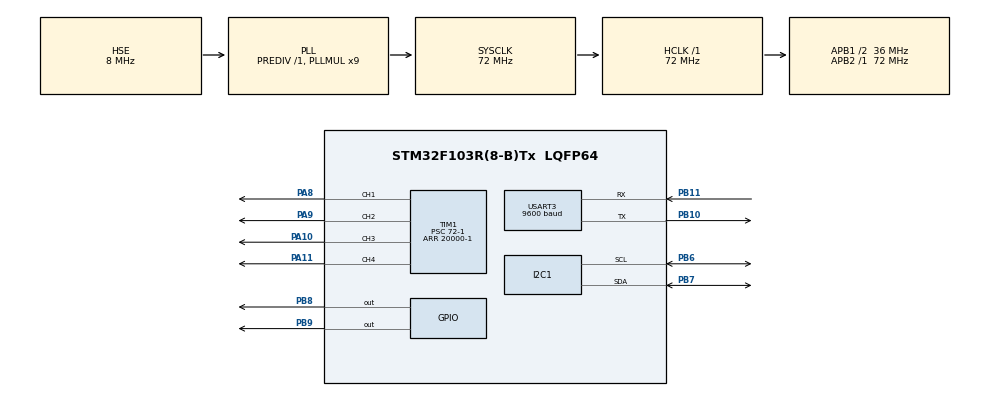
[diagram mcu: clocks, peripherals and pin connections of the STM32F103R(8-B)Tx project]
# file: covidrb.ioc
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Dma.Request0=USART3_RX
Dma.Request1=USART3_TX
Dma.USART3_RX.0.Direction=DMA_PERIPH_TO_MEMORY
Dma.USART3_RX.0.Instance=DMA1_Channel3
Dma.USART3_RX.0.MemDataAlignment=DMA_MDATAALIGN_BYTE
Dma.USART3_RX.0.MemInc=DMA_MINC_ENABLE
Dma.USART3_RX.0.Mode=DMA_CIRCULAR
Dma.USART3_RX.0.PeriphDataAlignment=DMA_PDATAALIGN_BYTE
Dma.USART3_RX.0.PeriphInc=DMA_PINC_DISABLE
Dma.USART3_RX.0.Priority=DMA_PRIORITY_HIGH
Dma.USART3_TX.1.Direction=DMA_MEMORY_TO_PERIPH
Dma.USART3_TX.1.Instance=DMA1_Channel2
Dma.USART3_TX.1.MemDataAlignment=DMA_MDATAALIGN_BYTE
Dma.USART3_TX.1.MemInc=DMA_MINC_ENABLE
Dma.USART3_TX.1.Mode=DMA_NORMAL
Dma.USART3_TX.1.PeriphDataAlignment=DMA_PDATAALIGN_BYTE
Dma.USART3_TX.1.PeriphInc=DMA_PINC_DISABLE
Dma.USART3_TX.1.Priority=DMA_PRIORITY_HIGH
Mcu.Family=STM32F1
Mcu.Name=STM32F103R(8-B)Tx
Mcu.Package=LQFP64
NVIC.DMA1_Channel2_IRQn=true\:5\:0\:true\:false\:true\:false\:true
NVIC.DMA1_Channel3_IRQn=true\:5\:0\:true\:false\:true\:false\:true
NVIC.PriorityGroup=NVIC_PRIORITYGROUP_4
NVIC.TIM4_IRQn=true\:0\:0\:false\:false\:true\:false\:true
NVIC.TimeBase=TIM4_IRQn
NVIC.TimeBaseIP=TIM4
NVIC.USART3_IRQn=true\:5\:0\:true\:false\:true\:true\:true
PA10.Signal=S_TIM1_CH3
PA11.Signal=S_TIM1_CH4
PA8.Signal=S_TIM1_CH1
PA9.Signal=S_TIM1_CH2
PB10.Mode=Asynchronous
PB10.Signal=USART3_TX
PB11.Mode=Asynchronous
PB11.Signal=USART3_RX
PB6.Mode=I2C
PB6.Signal=I2C1_SCL
PB7.Mode=I2C
PB7.Signal=I2C1_SDA
PB8.Signal=GPIO_Output
PB9.Signal=GPIO_Output
PD0-OSC_IN.Mode=HSE-External-Oscillator
PD0-OSC_IN.Signal=RCC_OSC_IN
PD1-OSC_OUT.Mode=HSE-External-Oscillator
PD1-OSC_OUT.Signal=RCC_OSC_OUT
ProjectManager.HeapSize=0x200
ProjectManager.StackSize=0x400
ProjectManager.TargetToolchain=STM32CubeIDE
RCC.AHBFreq_Value=72000000
RCC.APB1CLKDivider=RCC_HCLK_DIV2
RCC.APB1Freq_Value=36000000
RCC.APB1TimFreq_Value=72000000
RCC.APB2Freq_Value=72000000
RCC.APB2TimFreq_Value=72000000
RCC.HCLKFreq_Value=72000000
RCC.PLLMUL=RCC_PLL_MUL9
RCC.PLLSourceVirtual=RCC_PLLSOURCE_HSE
RCC.SYSCLKFreq_VALUE=72000000
RCC.SYSCLKSource=RCC_SYSCLKSOURCE_PLLCLK
RCC.USBFreq_Value=72000000
SH.S_TIM1_CH1.0=TIM1_CH1,PWM Generation1 CH1
SH.S_TIM1_CH2.0=TIM1_CH2,PWM Generation2 CH2
SH.S_TIM1_CH3.0=TIM1_CH3,PWM Generation3 CH3
SH.S_TIM1_CH4.0=TIM1_CH4,PWM Generation4 CH4
TIM1.Channel-PWM\ Generation1\ CH1=TIM_CHANNEL_1
TIM1.Channel-PWM\ Generation2\ CH2=TIM_CHANNEL_2
TIM1.Channel-PWM\ Generation3\ CH3=TIM_CHANNEL_3
TIM1.Channel-PWM\ Generation4\ CH4=TIM_CHANNEL_4
TIM1.Period=20000-1
TIM1.Prescaler=72-1
TIM1.Pulse-PWM\ Generation1\ CH1=1500
TIM1.Pulse-PWM\ Generation2\ CH2=1500
TIM1.Pulse-PWM\ Generation3\ CH3=1500
TIM1.Pulse-PWM\ Generation4\ CH4=1500
USART3.BaudRate=9600
USART3.VirtualMode=VM_ASYNC
VP_SYS_VS_ND.Mode=No_Debug
VP_SYS_VS_tim4.Mode=TIM4
VP_TIM1_VS_ClockSourceINT.Mode=Internal
board=custom

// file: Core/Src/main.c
/* USER CODE BEGIN Header */
/**
 ******************************************************************************
 * @file           : main.c
 * @brief          : Main program body
 ******************************************************************************
 * @attention
 *
 * <h2><center>&copy; Copyright (c) 2020 STMicroelectronics.
 * All rights reserved.</center></h2>
 *
 * This software component is licensed by ST under BSD 3-Clause license,
 * the "License"; You may not use this file except in compliance with the
 * License. You may obtain a copy of the License at:
 *                        opensource.org/licenses/BSD-3-Clause
 *
 ******************************************************************************
 */
/* USER CODE END Header */

#include "main.h"
#include "dma.h"
#include "i2c.h"
#include "tim.h"
#include "usart.h"
#include "gpio.h"

/* USER CODE BEGIN Includes */
#include "stdio.h"
#include "math.h"
#include "stdlib.h"
#include "IMU/imu.h"
#include "constDefines.h"
#include "comms.h"
/* USER CODE END Includes */

void SystemClock_Config(void);

/* USER CODE BEGIN 0 */
uint8_t receivedData[30] = "012345678901234567890123456789";
uint8_t dataTypeToReturn = 255;
int motorsInit = 0;
int x = 0;
int initComplete = 0;
int enableDebug = 1;

void initUART(void) {
	while (HAL_UART_Receive_DMA(&huart3, receivedData, 30) != HAL_OK) {
		blinkLED(2, 25);
	}

}

void escSet(uint32_t channel, uint16_t value) {
	__HAL_TIM_SET_COMPARE(&htim1, channel, value);
}
void initMotors(void) {
	HAL_TIM_PWM_Start(&htim1, TIM_CHANNEL_1);
	HAL_TIM_PWM_Start(&htim1, TIM_CHANNEL_2);
	HAL_TIM_PWM_Start(&htim1, TIM_CHANNEL_3);
	HAL_TIM_PWM_Start(&htim1, TIM_CHANNEL_4);
	escSet(TIM_CHANNEL_1, 1000);
	escSet(TIM_CHANNEL_2, 1000);
	escSet(TIM_CHANNEL_3, 1000);
	escSet(TIM_CHANNEL_4, 1000);
//	uint8_t debugData[] = MOTORS_INIT;
//	HAL_UART_Transmit_DMA(&huart3, debugData, sizeof(debugData));
//	uartTransmit(MOTORS_INIT);
	HAL_Delay(1000);
}

void initIMU() {
//	uint8_t debugData[] = IMU_INIT;
//	HAL_UART_Transmit_DMA(&huart3, debugData, sizeof(debugData));
	uartTransmit(IMU_INIT);
	MPU6050_initialize();
	DMP_Init();
	uartTransmit(MOTORS_INIT);

}

void shutMotors(void) {
	HAL_TIM_PWM_Stop(&htim1, TIM_CHANNEL_1);
	HAL_TIM_PWM_Stop(&htim1, TIM_CHANNEL_2);
	HAL_TIM_PWM_Stop(&htim1, TIM_CHANNEL_3);
	HAL_TIM_PWM_Stop(&htim1, TIM_CHANNEL_4);
}
void setMotorsAcro(void) {

	for (int i = 0; i < 20; i++) {
		escSet(TIM_CHANNEL_1, 500 + 100 * i);
		escSet(TIM_CHANNEL_2, 500 + 100 * i);
		escSet(TIM_CHANNEL_3, 500 + 100 * i);
		escSet(TIM_CHANNEL_4, 500 + 100 * i);
		HAL_Delay(1500);
//		setTrim();
	}
}
void calibrateESC(void) {
	HAL_GPIO_TogglePin(GPIOB, GPIO_PIN_8);
	HAL_TIM_PWM_Start(&htim1, TIM_CHANNEL_1);
	HAL_TIM_PWM_Start(&htim1, TIM_CHANNEL_2);
	HAL_TIM_PWM_Start(&htim1, TIM_CHANNEL_3);
	HAL_TIM_PWM_Start(&htim1, TIM_CHANNEL_4);
	escSet(TIM_CHANNEL_1, 2000);
	escSet(TIM_CHANNEL_2, 2000);
	escSet(TIM_CHANNEL_3, 2000);
	escSet(TIM_CHANNEL_4, 2000);
	HAL_Delay(5000);
	HAL_GPIO_TogglePin(GPIOB, GPIO_PIN_8);
	escSet(TIM_CHANNEL_1, 1000);
	escSet(TIM_CHANNEL_2, 1000);
	escSet(TIM_CHANNEL_3, 1000);
	escSet(TIM_CHANNEL_4, 1000);
	HAL_Delay(5000);
	HAL_GPIO_TogglePin(GPIOB, GPIO_PIN_8);
	shutMotors();
}
void HAL_UART_RxCpltCallback(UART_HandleTypeDef *huart) {
n = n + 1;
	if (receivedData[1] == ARM[0]) {
		HAL_GPIO_WritePin(GPIOB, GPIO_PIN_8, GPIO_PIN_RESET);
		initIMU();
		initMotors();
		resetPID();
		motorsInit = 1;
	} else if (receivedData[1] == DISARM[0]) {
		HAL_GPIO_WritePin(GPIOB, GPIO_PIN_8, GPIO_PIN_SET);
		shutMotors();

		motorsInit = 0;
	} else if (receivedData[1] == PID_KP_SEND[0]) {
		shutMotors();
		setPidValues(receivedData, PID_KP_SEND[0]);
		initMotors();

	} else if (receivedData[1] == PID_KI_SEND[0]) {
		shutMotors();
		setPidValues(receivedData, PID_KI_SEND[0]);
		initMotors();

	} else if (receivedData[1] == PID_KD_SEND[0]) {
		shutMotors();
		setPidValues(receivedData, PID_KD_SEND[0]);
		initMotors();

	} else if (receivedData[1] == TRIM_SEND[0]) {

		shutMotors();
		setTrimValues(receivedData);
		blinkLED(4, 1000);
		initMotors();

	} else if (receivedData[1] == ACROMODE[0]) {
		motorsInit = 2;
		setMotorsAcro();
	} else if (receivedData[1] == STOPDEBUG[0]) {
		blinkLED(5, 1000);
		if (enableDebug == 1) {
			enableDebug = 0;
		} else {
			enableDebug = 1;
		}
	} else if (receivedData[1] == SET_SETPOINT[0]) {
		setSetpoint(receivedData);
	}
	HAL_UART_Receive_DMA(huart, receivedData, 30);
//	else if (motorsInit == 0) {
//		initMotors();
//
//		motorsInit = 1;
//	} else if (motorsInit == 1) {
//		shutMotors();
//		motorsInit = 0;
//	}

}
void droneInit(void) {
	//initialize pwm signals.
//	sendInitValues();
	HAL_GPIO_WritePin(GPIOB, GPIO_PIN_9, GPIO_PIN_SET);
	blinkLED(4, 4000); //waiting
	initUART();
	initIMU();
	calibrateIMU(); //starting to calibrate

//	if (initComplete == 2) {

//		uint8_t debugData[] = ESC_CALIBRATE	;
//		HAL_UART_Transmit_DMA(&huart3, debugData, sizeof(debugData));

//	calibrateESC();
//	}

//	uint8_t debugData[] = DISARMED;
//	HAL_UART_Transmit_DMA(&huart3, debugData, sizeof(debugData));
	uartTransmit(DISARMED);
	if (imuInit == 1) {
		HAL_GPIO_WritePin(GPIOB, GPIO_PIN_9, GPIO_PIN_RESET); //Indicate ready to fly!
	} else {
		HAL_GPIO_WritePin(GPIOB, GPIO_PIN_9, GPIO_PIN_SET); //Indicate error with IMU init!
	}

}

/* USER CODE END 0 */

int main(void) {

	/* MCU Configuration--------------------------------------------------------*/

	/* Reset of all peripherals, Initializes the Flash interface and the Systick. */
	HAL_Init();

	/* USER CODE BEGIN Init */
	long prevTime = 0;
	long processTime = 0;
	long elapsedTime = 0;
	long n = 0;
	/* USER CODE END Init */

	/* Configure the system clock */
	SystemClock_Config();

	/* Initialize all configured peripherals */
	MX_GPIO_Init();
	MX_DMA_Init();
	MX_I2C1_Init();
	MX_TIM1_Init();
	MX_USART3_UART_Init();
	/* USER CODE BEGIN 2 */

	droneInit();
	/* USER CODE END 2 */

	/* Infinite loop */
	while (1) {

		/* USER CODE BEGIN 3 */
		if (motorsInit == 1) {
			prevTime = HAL_GetTick();
			Read_DMP();
			computePID(elapsedTime);
			setMotors();
			if (enableDebug == 1) {
				debugIMU();
			}

			HAL_Delay(1);
//			processTime = (processTime * n);
			HAL_GPIO_TogglePin(GPIOB, GPIO_PIN_9);

			elapsedTime = HAL_GetTick() - prevTime;
			processTime += elapsedTime;
			n = n + 1;
//			processTime = (int) processTime/n;

		} else if (motorsInit == 0) {
//			uint8_t debugData[] = DISARMED;
//			HAL_UART_Transmit_DMA(&huart3, debugData, sizeof(debugData));
//			Read_DMP();
//			computePID();
//			debugIMU();
			char debugval[30] = "";
			for (int i = 0; i < 29; i++) {
				debugval[i] = ' ';
			}
			debugval[29] = '\0';
			snprintf(debugval, 30, "<s7;time: %ld; n: %d;>    ", processTime,
					n);
			uartTransmit(debugval);

			HAL_Delay(1000);
//			uartTransmit(DISARMED);
			HAL_Delay(1000);
		}
//		} else if (motorsInit == 2) { //Acro mode
////			uint8_t debugData[] = ACROMODE;
////			HAL_UART_Transmit_DMA(&huart3, debugData, sizeof(debugData));
//			uartTransmit(ACROMODE);
//			HAL_Delay(pidLoopDelay);
//		}

	}
	/* USER CODE END 3 */
}

void SystemClock_Config(void) {
	RCC_OscInitTypeDef RCC_OscInitStruct = { 0 };
	RCC_ClkInitTypeDef RCC_ClkInitStruct = { 0 };

	/** Initializes the CPU, AHB and APB busses clocks
	 */
	RCC_OscInitStruct.OscillatorType = RCC_OSCILLATORTYPE_HSE;
	RCC_OscInitStruct.HSEState = RCC_HSE_ON;
	RCC_OscInitStruct.HSEPredivValue = RCC_HSE_PREDIV_DIV1;
	RCC_OscInitStruct.HSIState = RCC_HSI_ON;
	RCC_OscInitStruct.PLL.PLLState = RCC_PLL_ON;
	RCC_OscInitStruct.PLL.PLLSource = RCC_PLLSOURCE_HSE;
	RCC_OscInitStruct.PLL.PLLMUL = RCC_PLL_MUL9;
	if (HAL_RCC_OscConfig(&RCC_OscInitStruct) != HAL_OK) {
		Error_Handler();
	}
	/** Initializes the CPU, AHB and APB busses clocks
	 */
	RCC_ClkInitStruct.ClockType = RCC_CLOCKTYPE_HCLK | RCC_CLOCKTYPE_SYSCLK
			| RCC_CLOCKTYPE_PCLK1 | RCC_CLOCKTYPE_PCLK2;
	RCC_ClkInitStruct.SYSCLKSource = RCC_SYSCLKSOURCE_PLLCLK;
	RCC_ClkInitStruct.AHBCLKDivider = RCC_SYSCLK_DIV1;
	RCC_ClkInitStruct.APB1CLKDivider = RCC_HCLK_DIV2;
	RCC_ClkInitStruct.APB2CLKDivider = RCC_HCLK_DIV1;

	if (HAL_RCC_ClockConfig(&RCC_ClkInitStruct, FLASH_LATENCY_2) != HAL_OK) {
		Error_Handler();
	}
}

void HAL_TIM_PeriodElapsedCallback(TIM_HandleTypeDef *htim) {
	if (htim->Instance == TIM4) {
		HAL_IncTick();
	}
}

void Error_Handler(void) {
}

/************************ (C) COPYRIGHT STMicroelectronics *****END OF FILE****/
